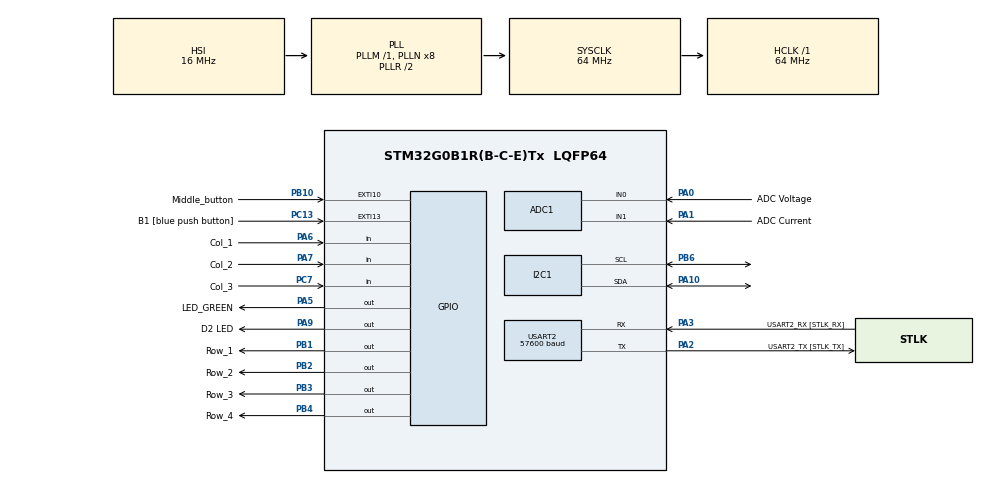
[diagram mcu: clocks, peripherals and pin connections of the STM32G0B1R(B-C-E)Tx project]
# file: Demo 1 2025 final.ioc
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ADC1.Channel-0\#ChannelRegularConversion=ADC_CHANNEL_0
ADC1.Channel-1\#ChannelRegularConversion=ADC_CHANNEL_1
ADC1.ContinuousConvMode=DISABLE
ADC1.DMAContinuousRequests=DISABLE
ADC1.EOCSelection=ADC_EOC_SEQ_CONV
ADC1.NbrOfConversion=2
ADC1.NbrOfConversionFlag=1
ADC1.Rank-0\#ChannelRegularConversion=1
ADC1.Rank-1\#ChannelRegularConversion=2
ADC1.SamplingTime-0\#ChannelRegularConversion=ADC_SAMPLINGTIME_COMMON_1
ADC1.SamplingTime-1\#ChannelRegularConversion=ADC_SAMPLINGTIME_COMMON_1
ADC1.SamplingTimeCommon1=ADC_SAMPLETIME_7CYCLES_5
ADC1.SamplingTimeCommon2=ADC_SAMPLETIME_7CYCLES_5
ADC1.SelectedChannel=ADC_CHANNEL_0|ADC_CHANNEL_1
ADC1.master=1
Dma.ADC1.0.Direction=DMA_PERIPH_TO_MEMORY
Dma.ADC1.0.EventEnable=DISABLE
Dma.ADC1.0.Instance=DMA1_Channel1
Dma.ADC1.0.MemDataAlignment=DMA_MDATAALIGN_HALFWORD
Dma.ADC1.0.MemInc=DMA_MINC_ENABLE
Dma.ADC1.0.Mode=DMA_NORMAL
Dma.ADC1.0.PeriphDataAlignment=DMA_PDATAALIGN_HALFWORD
Dma.ADC1.0.PeriphInc=DMA_PINC_DISABLE
Dma.ADC1.0.Polarity=HAL_DMAMUX_REQ_GEN_RISING
Dma.ADC1.0.Priority=DMA_PRIORITY_LOW
Dma.ADC1.0.RequestNumber=1
Dma.ADC1.0.SignalID=NONE
Dma.ADC1.0.SyncEnable=DISABLE
Dma.ADC1.0.SyncPolarity=HAL_DMAMUX_SYNC_NO_EVENT
Dma.ADC1.0.SyncRequestNumber=1
Dma.ADC1.0.SyncSignalID=NONE
Dma.Request0=ADC1
I2C1.Timing=0x10B17DB5
Mcu.Family=STM32G0
Mcu.Name=STM32G0B1R(B-C-E)Tx
Mcu.Package=LQFP64
NVIC.DMA1_Channel1_IRQn=true\:0\:0\:true\:false\:true\:false\:true\:true
NVIC.EXTI4_15_IRQn=true\:0\:0\:false\:false\:true\:true\:true\:true
NVIC.TIM2_IRQn=true\:0\:0\:true\:false\:true\:true\:true\:true
NVIC.USART2_LPUART2_IRQn=true\:0\:0\:false\:false\:true\:true\:true\:true
PA0.GPIO_Label=ADC Voltage
PA0.Mode=IN0
PA0.Signal=ADC1_IN0
PA1.GPIO_Label=ADC Current
PA1.Mode=IN1
PA1.Signal=ADC1_IN1
PA10.Mode=I2C
PA10.Signal=I2C1_SDA
PA13.GPIO_Label=TMS
PA13.Mode=Serial_Wire
PA13.Signal=SYS_SWDIO
PA14-BOOT0.GPIO_Label=TCK
PA14-BOOT0.Mode=Serial_Wire
PA14-BOOT0.Signal=SYS_SWCLK
PA2.GPIO_Label=USART2_TX [STLK_TX]
PA2.Mode=Asynchronous
PA2.Signal=USART2_TX
PA3.GPIO_Label=USART2_RX [STLK_RX]
PA3.Mode=Asynchronous
PA3.Signal=USART2_RX
PA5.GPIO_Label=LED_GREEN
PA5.GPIO_Speed=GPIO_SPEED_FREQ_HIGH
PA5.Signal=GPIO_Output
PA6.GPIO_Label=Col_1
PA6.GPIO_PuPd=GPIO_PULLDOWN
PA6.Signal=GPIO_Input
PA7.GPIO_Label=Col_2
PA7.GPIO_PuPd=GPIO_PULLDOWN
PA7.Signal=GPIO_Input
PA9.GPIO_Label=D2 LED
PA9.PinState=GPIO_PIN_RESET
PA9.Signal=GPIO_Output
PB1.GPIO_Label=Row_1
PB1.Signal=GPIO_Output
PB10.GPIO_Label=Middle_button
PB10.GPIO_ModeDefaultEXTI=GPIO_MODE_IT_FALLING
PB10.GPIO_PuPd=GPIO_PULLUP
PB10.Signal=GPXTI10
PB2.GPIO_Label=Row_2
PB2.Signal=GPIO_Output
PB3.GPIO_Label=Row_3
PB3.Signal=GPIO_Output
PB4.GPIO_Label=Row_4
PB4.Signal=GPIO_Output
PB6.Mode=I2C
PB6.Signal=I2C1_SCL
PC13.GPIO_Label=B1 [blue push button]
PC13.Signal=GPXTI13
PC14-OSC32_IN\ (PC14).Mode=LSE-External-Oscillator
PC14-OSC32_IN\ (PC14).Signal=RCC_OSC32_IN
PC15-OSC32_OUT\ (PC15).Mode=LSE-External-Oscillator
PC15-OSC32_OUT\ (PC15).Signal=RCC_OSC32_OUT
PC7.GPIO_Label=Col_3
PC7.GPIO_PuPd=GPIO_PULLDOWN
PC7.Signal=GPIO_Input
PF0-OSC_IN\ (PF0).GPIO_Label=MCO
PF0-OSC_IN\ (PF0).Mode=HSE-External-Clock-Source
PF0-OSC_IN\ (PF0).Signal=RCC_OSC_IN
ProjectManager.HeapSize=0x200
ProjectManager.StackSize=0x400
ProjectManager.TargetToolchain=STM32CubeIDE
RCC.ADCFreq_Value=64000000
RCC.AHBFreq_Value=64000000
RCC.CortexFreq_Value=64000000
RCC.EXTERNAL_CLOCK_VALUE=12288000
RCC.HCLKFreq_Value=64000000
RCC.HSE_VALUE=8000000
RCC.HSI48_VALUE=48000000
RCC.HSI_VALUE=16000000
RCC.SYSCLKFreq_VALUE=64000000
RCC.SYSCLKSource=RCC_SYSCLKSOURCE_PLLCLK
RCC.USBFreq_Value=48000000
RCC.VCOOutputFreq_Value=128000000
TIM2.Channel-Output\ Compare1\ No\ Output=TIM_CHANNEL_1
TIM2.Period=99
TIM2.Prescaler=63
USART2.BaudRate=57600
USART2.Parity=PARITY_EVEN
USART2.VirtualMode-Asynchronous=VM_ASYNC
USART2.WordLength=WORDLENGTH_9B
VP_RTC_VS_RTC_Activate.Mode=RTC_Enabled
VP_RTC_VS_RTC_Calendar.Mode=RTC_Calendar
VP_SYS_VS_DBSignals.Mode=DisableDeadBatterySignals
VP_TIM2_VS_no_output1.Mode=Output Compare1 No Output
board=NUCLEO-G0B1RE

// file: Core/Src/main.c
/* USER CODE BEGIN Header */
/**
  ******************************************************************************
  * @file           : main.c
  * @brief          : Main program body
  ******************************************************************************
  * @attention
  *
  * Copyright (c) 2025 STMicroelectronics.
  * All rights reserved.
  *
  * This software is licensed under terms that can be found in the LICENSE file
  * in the root directory of this software component.
  * If no LICENSE file comes with this software, it is provided AS-IS.
  *
  ******************************************************************************
  */
/* USER CODE END Header */
#include "main.h"

/* USER CODE BEGIN Includes */

#include <math.h>
#include <string.h>
#include <stdio.h>
#include "ssd1306.h"
#include "ssd1306_fonts.h"
#include "ssd1306_tests.h"
#include "keypad.h"
#include <stdlib.h>

/* USER CODE END Includes */

ADC_HandleTypeDef hadc1;
DMA_HandleTypeDef hdma_adc1;

I2C_HandleTypeDef hi2c1;

RTC_HandleTypeDef hrtc;

TIM_HandleTypeDef htim2;

UART_HandleTypeDef huart2;

void SystemClock_Config(void);
static void MX_GPIO_Init(void);
static void MX_DMA_Init(void);
static void MX_USART2_UART_Init(void);
static void MX_ADC1_Init(void);
static void MX_TIM2_Init(void);
static void MX_RTC_Init(void);
static void MX_I2C1_Init(void);
/* USER CODE BEGIN PFP */
void Menu_lvl_1(char key);
void Menu_Load(char key);
void Menu_lvl_2(char key);
void Menu_Add_Units(char key);
void Menu_Count(char key);
/* USER CODE END PFP */

/* USER CODE BEGIN 0 */
//#define ADC_BUFFER_SIZE 8000  // Adjust size as needed

//uint16_t adc_buffer[ADC_BUFFER_SIZE];  // One shared buffer for both channels
uint8_t studentnumber[11]="*23142251#\n";
uint8_t rxBuffer[7];
#define NUM_SAMPLES 1000   // Define the number of samples for voltage and current
#define MAX_SAMPLES 1000   // Adjust as needed
#define SAMPLE_RATE_HZ 10000  // 10kHz sampling rate
#define DEBOUNCE_DELAY 150  // ms
#define ZERO_LOW 1800
#define ZERO_HIGH 1850
#define ZERO_THRESHOLD 1900
volatile uint32_t lastButtonPressTime = 0;
char current_key = '0';              // Default starting key/menu
uint32_t last_update_time = 0;       // For refresh timing
const uint32_t update_interval = 500; // ms
uint16_t adc_values[2];  // Array to store ADC values: [0] = voltage, [1] = current
uint16_t voltage_samples[MAX_SAMPLES];
uint16_t current_samples[MAX_SAMPLES];
uint16_t sample_count = 0;
uint8_t adc_sampling_complete = 0;
float voltage_rms = 0.0;
float current_rms = 0.0;
float phase = 0.0;          // Phase in radians (x.xxx)
float apparent_power = 0.0; // Apparent power in VA (xxxx)
float real_power = 0.0;     // Real power in W (xxxx)
float reactive_power = 0.0; // Reactive power in VAR (xxxx)
float power_factor = 0.0;   // Power factor (x.xxx)
float energy_per_day = 0.0; // Energy per day in Wh (xxxxx)
float max_power = 0.0;      // Maximum power in W (xxxx)
float units_left = 1.0;     // Units left in kWh (xxx.x)
float min_units = 0.0;
uint8_t currentMenuLevel = 0;

//void get_timestamp(char *timestamp) {
//    RTC_TimeTypeDef sTime = {0};
//    RTC_DateTypeDef sDate = {0};
//
//    // Get current time and date
//    HAL_RTC_GetTime(&hrtc, &sTime, RTC_FORMAT_BIN);
//    HAL_RTC_GetDate(&hrtc, &sDate, RTC_FORMAT_BIN);
//
//    // Format the timestamp
//    snprintf(timestamp, 21, "20%02d/%02d/%02d %02d:%02d:%02d\n",
//             sDate.Year, sDate.Month, sDate.Date,
//             sTime.Hours, sTime.Minutes, sTime.Seconds);
//}

void get_timestamp(char *timestamp) {
    RTC_TimeTypeDef sTime = {0};
    RTC_DateTypeDef sDate = {0};

    // Get current time and date
    HAL_RTC_GetTime(&hrtc, &sTime, RTC_FORMAT_BIN);
    HAL_RTC_GetDate(&hrtc, &sDate, RTC_FORMAT_BIN);

    // Format: HH:MM:SS  YY/MM/DD (2-digit year)
    snprintf(timestamp, 21, "%02d:%02d:%02d  %02d/%02d/%02d",
             sTime.Hours, sTime.Minutes, sTime.Seconds,
             sDate.Year, sDate.Month, sDate.Date);
}
void get_timestamp1(char *timestamp1) {
    RTC_TimeTypeDef sTime = {0};
    RTC_DateTypeDef sDate = {0};

    // Get current time and date
    HAL_RTC_GetTime(&hrtc, &sTime, RTC_FORMAT_BIN);
    HAL_RTC_GetDate(&hrtc, &sDate, RTC_FORMAT_BIN);

    // Format the timestamp
    snprintf(timestamp1, 21, "20%02d/%02d/%02d %02d:%02d:%02d\n",
             sDate.Year, sDate.Month, sDate.Date,
             sTime.Hours, sTime.Minutes, sTime.Seconds);
}
// ADC Conversion Complete Callback
void HAL_ADC_ConvCpltCallback(ADC_HandleTypeDef *hadc) {
    if (hadc->Instance == ADC1) {
        voltage_samples[sample_count] = adc_values[0];
        current_samples[sample_count] = adc_values[1];
        sample_count++;
        if (sample_count >= NUM_SAMPLES) {
            sample_count = 0; //reset counter
            //HAL_TIM_Base_Stop_IT(&htim2);
        }
    }
}

// Timer Period Elapsed Callback (Trigger ADC Conversion)
void HAL_TIM_PeriodElapsedCallback(TIM_HandleTypeDef *htim) {
    if (htim->Instance == TIM2) {
        HAL_ADC_Start_DMA(&hadc1, (uint32_t *)adc_values, 2);
    }
}
void HAL_UART_RxCpltCallback(UART_HandleTypeDef *huart) {
    if (huart->Instance == USART2) {
        if (strncmp((char *)rxBuffer, "*Stat#\n", 7) == 0) {
            handle_status_command();

        }
        else if (strncmp((char *)rxBuffer, "*Load#\n", 7) == 0) {
            handle_load_command();
        }
        // Add to your UART command list
//        else if (strncmp((char *)rxBuffer, "*xADC#\n", 7) == 0) {
//            handle_adc_debug_command();  // New function to show raw ADC data
//        }
        HAL_UART_Receive_IT(&huart2, rxBuffer, 7);
    }
}
// Function to calculate RMS value from samples
void calculate_rms(void) {
    uint16_t v_max = voltage_samples[0];
    uint16_t v_min = voltage_samples[0];  // ADC max value
    uint16_t i_max = current_samples[0];
    uint16_t i_min = current_samples[0];

    // Loop through buffer to find peak and min values
    for (uint16_t i = 0; i < NUM_SAMPLES; i++) {
        if (voltage_samples[i] > v_max) v_max = voltage_samples[i];
        if (voltage_samples[i] < v_min) v_min = voltage_samples[i];

        if (current_samples[i] > i_max) i_max = current_samples[i];
        if (current_samples[i] < i_min) i_min = current_samples[i];
    }

    // Get peak-to-peak values
    float v_pp = (v_max - v_min) * (3.3f / 4095.0f);  // Convert ADC to voltage
    float i_pp = (i_max - i_min) * (3.3f / 4095.0f);

    // Convert peak-to-peak voltage to RMS (2Vpp = 230V)
    voltage_rms = (v_pp / 2.0f / sqrt(2.0f)) * 230.0f*1.118;
    current_rms = (i_pp / 2.0f / sqrt(2.0f)) * 15.0f*1.118;
    apparent_power= voltage_rms*current_rms;
}

int find_zero_crossing_index(uint16_t *samples) {
    for (int i = 1; i < NUM_SAMPLES; i++) {
        if (samples[i-1] < ZERO_THRESHOLD && samples[i] >= ZERO_THRESHOLD) {
            return i;
        }
    }
    return -1; // Not found
}

void calculate_phase_and_power(void) {
    int v_idx = find_zero_crossing_index(voltage_samples);
    int i_idx = find_zero_crossing_index(current_samples);

    if (v_idx == -1 || i_idx == -1) {
        // If zero-crossing failed, just return
        return;
    }

    int delta = i_idx - v_idx;
    float sample_rate = 10000.0f; // 10kHz
    float freq = 50.0f;

    float time_diff = (float)delta / sample_rate;
    float raw_phase = 2.0f * M_PI * freq * time_diff;

    // Calibration offset
    float baseline_offset = -1.4f-3.0f;
    raw_phase -= baseline_offset;

    static float last_phase = 0.0f;

    if (raw_phase > 3.1f || raw_phase < -3.1f) {
        // Glitch detected — keep previous value
        phase = last_phase;
    } else {
        // Valid value — update
        phase = raw_phase;
        last_phase = phase;
    }

    power_factor = cosf(phase);
    power_factor = fabsf(power_factor);
    real_power = apparent_power * power_factor;
    real_power = fabsf(real_power);
    reactive_power = apparent_power * sinf(phase);
}

// UART Command Handler

void handle_status_command(void) {
	HAL_TIM_Base_Start_IT(&htim2);
    calculate_rms(); // Calculate RMS voltage and current
    calculate_phase_and_power();
    char timestamp1[21]; // Buffer for timestamp (20 characters + null terminator)
    get_timestamp1(timestamp1); // Get the current timestamp

    char message[256]; // Buffer for the entire status message
    int len = 0;

    // Add timestamp (20 characters, including newline)
    len += snprintf(message + len, sizeof(message) - len, "%.20s", timestamp1);

    // Add formatted data with proper alignment
    len += snprintf(message + len, sizeof(message) - len, "%-9s%9.1fV\n", "Voltage:", voltage_rms);
    len += snprintf(message + len, sizeof(message) - len, "%-9s%8.0fmA\n", "Current:", current_rms * 1000);
    len += snprintf(message + len, sizeof(message) - len, "%-10s%6.3frad\n", "Phase:", phase);
    len += snprintf(message + len, sizeof(message) - len, "%-10s%7.0fVA\n", "Apparent:", apparent_power);
    len += snprintf(message + len, sizeof(message) - len, "%-10s%8.0fW\n", "Real:", real_power);
    len += snprintf(message + len, sizeof(message) - len, "%-10s%6.0fVAR\n", "Reactive:", reactive_power);
    len += snprintf(message + len, sizeof(message) - len, "%-10s%9.3f\n", "PowerFact:", power_factor);
    len += snprintf(message + len, sizeof(message) - len, "%-10s%7.0fWh\n", "Energy/d:", energy_per_day);
    len += snprintf(message + len, sizeof(message) - len, "%-10s%8.0fW\n", "MaxPower:", max_power);
    len += snprintf(message + len, sizeof(message) - len, "%-10s%6.1fkWh\n", "UnitsLeft:", units_left);

    // Transmit the message
    HAL_UART_Transmit(&huart2, (uint8_t *)message, len, HAL_MAX_DELAY);
}
//void handle_adc_debug_command(void) {
//    // Capture snapshot of current ADC buffer (unchanged)
//    uint16_t v_min = voltage_samples[0], v_max = voltage_samples[0];
//    uint16_t i_min = current_samples[0], i_max = current_samples[0];
//    uint32_t v_sum = 0, i_sum = 0;
//
//    for (int i = 0; i < NUM_SAMPLES; i++) {
//        v_sum += voltage_samples[i];
//        i_sum += current_samples[i];
//        if (voltage_samples[i] < v_min) v_min = voltage_samples[i];
//        if (voltage_samples[i] > v_max) v_max = voltage_samples[i];
//        if (current_samples[i] < i_min) i_min = current_samples[i];
//        if (current_samples[i] > i_max) i_max = current_samples[i];
//    }
//
//    // Calculations (now with clear variable names)
//    const float opamp_gain = 1.3f;
//    float raw_vpp = (v_max - v_min) * 3.3f / 4095.0f;    // Higher value (op-amp output)
//    float input_vpp = raw_vpp / opamp_gain;              // Lower value (original input)
//    float raw_ipp = (i_max - i_min) * 3.3f / 4095.0f;
//    float input_ipp = raw_ipp / opamp_gain;
//
//    // Format output with swapped values
//    char message[250];
//    int len = snprintf(message, sizeof(message),
//        "ADC Accuracy Report:\n"
//        "Voltage: Min=%.3fV, Max=%.3fV, Avg=%.3fV\n"
//        "Current: Min=%.3fV, Max=%.3fV, Avg=%.3fV\n"
//        "Samples=%d\n"
//        "Vpp=%.3fV (input pre-gain vpp=%.3fV)\n"      // Raw ADC value first
//        "Ipp=%.3fV (input pre-gain ipp=%.3fV)\n",     // Then divided value
//        v_min * 3.3f / 4095.0f,
//        v_max * 3.3f / 4095.0f,
//        (v_sum * 3.3f) / (NUM_SAMPLES * 4095.0f),
//        i_min * 3.3f / 4095.0f,
//        i_max * 3.3f / 4095.0f,
//        (i_sum * 3.3f) / (NUM_SAMPLES * 4095.0f),
//        NUM_SAMPLES,
//        raw_vpp,     // Higher value (op-amp output)
//        input_vpp,   // Lower value (original input)
//        raw_ipp,
//        input_ipp);
//
//    HAL_UART_Transmit(&huart2, (uint8_t *)message, len, 100);
//}

void handle_load_command(void)
{
    HAL_GPIO_TogglePin(GPIOA, GPIO_PIN_9);
}
//void HAL_GPIO_EXTI_Callback(uint16_t GPIO_Pin)
//{
//    if (GPIO_Pin == Middle_button_Pin)
//    {
//        uint32_t now = HAL_GetTick();
//        if ((now - lastButtonPressTime) > DEBOUNCE_DELAY)
//        {
//            lastButtonPressTime = now;
//            handle_load_command();
//        }
//    }
//}

void HAL_GPIO_EXTI_Falling_Callback(uint16_t GPIO_Pin)
{
    if (GPIO_Pin == Middle_button_Pin)
    {
        uint32_t now = HAL_GetTick();

        // Debounce: only allow if 200ms passed since last press
        if ((now - lastButtonPressTime) > DEBOUNCE_DELAY)
        {
            // Confirm the button is still pressed (still LOW)
            if (HAL_GPIO_ReadPin(Middle_button_GPIO_Port, Middle_button_Pin) == GPIO_PIN_RESET)
            {
                lastButtonPressTime = now;
                HAL_GPIO_TogglePin(GPIOA, GPIO_PIN_9);
            }
        }
    }
}

void Menu_lvl_0(char key) {
    char line[32];

    HAL_TIM_Base_Start_IT(&htim2);
    calculate_rms();
    calculate_phase_and_power();
    char timestamp[21];
    get_timestamp(timestamp);

    ssd1306_Fill(Black);

    switch (key) {
        case '0':
            snprintf(line, sizeof(line), "%-9s%9.0fVA", "Apparent:", apparent_power);
            ssd1306_SetCursor(0, 0);
            ssd1306_WriteString(line, Font_6x8, White);

            snprintf(line, sizeof(line), "%-9s%9.0fWh", "Energy/d:", energy_per_day);
            ssd1306_SetCursor(0, 10);
            ssd1306_WriteString(line, Font_6x8, White);

            snprintf(line, sizeof(line), "%-9s%9.4fkWh", "Units:", units_left);
            ssd1306_SetCursor(0, 20);
            ssd1306_WriteString(line, Font_6x8, White);
            break;

        case '1':
            snprintf(line, sizeof(line), "%-9s%9.1fV", "Voltage:", voltage_rms);
            ssd1306_SetCursor(0, 0);
            ssd1306_WriteString(line, Font_6x8, White);

            snprintf(line, sizeof(line), "%-9s%9.3fA", "Current:", current_rms);
            ssd1306_SetCursor(0, 10);
            ssd1306_WriteString(line, Font_6x8, White);

            snprintf(line, sizeof(line), "%-9s%9.3fr", "Phase:", phase);
            ssd1306_SetCursor(0, 20);
            ssd1306_WriteString(line, Font_6x8, White);
            break;

        case '2':
            snprintf(line, sizeof(line), "%-9s%9.0fW", "Real:", real_power);
            ssd1306_SetCursor(0, 0);
            ssd1306_WriteString(line, Font_6x8, White);

            snprintf(line, sizeof(line), "%-9s%9.0fW", "Reactive:", reactive_power);
            ssd1306_SetCursor(0, 10);
            ssd1306_WriteString(line, Font_6x8, White);

            snprintf(line, sizeof(line), "%-9s%9.3f", "PowerFact:", power_factor);
            ssd1306_SetCursor(0, 20);
            ssd1306_WriteString(line, Font_6x8, White);
            break;

        case '3':
            get_timestamp(timestamp);  // Make sure it's updated before printing

            ssd1306_SetCursor(0, 0);
            ssd1306_WriteString(timestamp, Font_6x8, White);

            snprintf(line, sizeof(line), "%-9s%9.0fW", "Max Power:", max_power);
            ssd1306_SetCursor(0, 10);
            ssd1306_WriteString(line, Font_6x8, White);

            snprintf(line, sizeof(line), "%-9s%9.1fkWh", "Min Units:", min_units);
            ssd1306_SetCursor(0, 20);
            ssd1306_WriteString(line, Font_6x8, White);
            break;

        case '*':
            currentMenuLevel = 1;
            Menu_lvl_1('\0');  // Initial display of Menu Level 1
            return;            // Important: avoid further processing

         default:
             ssd1306_Fill(Black);
             ssd1306_SetCursor(0, 0);
             ssd1306_WriteString("Invalid key (Lvl 0)", Font_6x8, White);
             break;
    }

    ssd1306_UpdateScreen();
}

void Menu_lvl_1(char key) {
    char line[32];
    ssd1306_Fill(Black);

    switch (key) {
        case '\0':
            ssd1306_SetCursor(0, 0);
            ssd1306_WriteString("Menu(Lvl 1):", Font_6x8, White);

            ssd1306_SetCursor(0, 10);
            snprintf(line, sizeof(line), "1: Load On/Off");
            ssd1306_WriteString(line, Font_6x8, White);

            ssd1306_SetCursor(0, 20);
            snprintf(line, sizeof(line), "2: Manage Units");
            ssd1306_WriteString(line, Font_6x8, White);
            break;

        case '1':
        			currentMenuLevel = 2;
                    Menu_Load('\0');  // Entry into Load submenu
                    return;

        case '2':
        	currentMenuLevel = 3;
        	Menu_lvl_2('\0');
        	return;

        case '#':
            currentMenuLevel = 0;       // Go back to level 0
            current_key = '0';          // Reset to a valid default key for refresh
            Menu_lvl_0(current_key);    // Show default screen
            return;
                      // Done

        default:
            ssd1306_SetCursor(0, 0);
            ssd1306_WriteString("Invalid key (Lvl 1)", Font_6x8, White);
            break;
    }

    ssd1306_UpdateScreen();
}

void Menu_Load(char key) {
    static char loadSwitchSelection = '\0';  // persist selection during navigation
    currentMenuLevel = 2;

    switch (key) {
        case '\0':

            ssd1306_SetCursor(0, 0);
            ssd1306_WriteString("Load On/Off:", Font_6x8, White);
            ssd1306_SetCursor(0, 10);
            ssd1306_WriteString("1 = ON, 2 = OFF", Font_6x8, White);
            ssd1306_SetCursor(0, 20);
            ssd1306_WriteString("* to confirm", Font_6x8, White);
            ssd1306_UpdateScreen();
            loadSwitchSelection = '\0';  // Reset previous selection
            break;

        case '1':
        case '2':
            loadSwitchSelection = key;  // Store selection until confirm
            break;

        case '*':  // Confirm selection
            if (loadSwitchSelection == '1') {
                HAL_GPIO_WritePin(GPIOA, GPIO_PIN_9, GPIO_PIN_SET);  // LED ON
            } else if (loadSwitchSelection == '2') {
                HAL_GPIO_WritePin(GPIOA, GPIO_PIN_9, GPIO_PIN_RESET);  // LED OFF
            }
            // Return to main menu after confirm
            currentMenuLevel = 0;
            Menu_lvl_0('0');
            break;

        case '#':  // Cancel/back
            currentMenuLevel = 1;
            Menu_lvl_1('\0');
            break;
    }
}

void Menu_lvl_2(char key) {
    currentMenuLevel = 3;

    if (key == '\0') {

        ssd1306_SetCursor(0, 0);
        ssd1306_WriteString("Menu(Lvl 2):", Font_6x8, White);
        ssd1306_SetCursor(0, 10);
        ssd1306_WriteString("1: Count On/Off", Font_6x8, White);
        ssd1306_SetCursor(0, 20);
        ssd1306_WriteString("2: Add Units", Font_6x8, White);
        ssd1306_UpdateScreen();
        return;
    }

    switch (key) {
        case '1':
            currentMenuLevel = 4;
            Menu_Count('\0');  // Load Unit Count toggle menu
            break;

        case '2':
            currentMenuLevel = 5;
            Menu_Add_Units('\0');  // Load Add Units menu
            break;

        case '#':
            currentMenuLevel = 1;
            Menu_lvl_1('\0');  // Go back to Main Menu
            break;
    }
}

void Menu_Count(char key) {
    static char countSwitchSelection = '\0';  // Persist selection during navigation
    currentMenuLevel = 4;

    switch (key) {
        case '\0':
            ssd1306_Clear();
            ssd1306_SetCursor(0, 0);
            ssd1306_WriteString("Unit Count Toggle:", Font_6x8, White);
            ssd1306_SetCursor(0, 10);
            ssd1306_WriteString("1 = ON, 2 = OFF", Font_6x8, White);
            ssd1306_SetCursor(0, 20);
            ssd1306_WriteString("* to confirm", Font_6x8, White);
            ssd1306_UpdateScreen();
            countSwitchSelection = '\0';  // Reset previous selection
            break;

        case '1':
        case '2':
            countSwitchSelection = key;  // Store selection
            break;

        case '*':  // Confirm selection
            ssd1306_Clear();
            if (countSwitchSelection == '1') {
                // Handle ON logic
                ssd1306_SetCursor(0, 0);
                ssd1306_WriteString("Unit Count: ON", Font_6x8, White);
                // You can add logic here to enable unit counting
            } else if (countSwitchSelection == '2') {
                // Handle OFF logic
                ssd1306_SetCursor(0, 0);
                ssd1306_WriteString("Unit Count: OFF", Font_6x8, White);
                // You can add logic here to disable unit counting
            } else {
                ssd1306_SetCursor(0, 0);
                ssd1306_WriteString("Invalid Option", Font_6x8, White);
            }
            ssd1306_UpdateScreen();
            HAL_Delay(2000);
            currentMenuLevel = 1;  // Return to Menu Level 1
            Menu_lvl_1('\0');
            break;

        case '#':  // Cancel/back
        	ssd1306_Clear();
            currentMenuLevel = 1;
            Menu_lvl_1('\0');
            break;
    }
}

void Menu_Add_Units(char key) {
    static char unitInputBuffer[10] = "";  // Buffer to hold input digits
    static uint8_t inputIndex = 0;
    currentMenuLevel = 5;

    switch (key) {
        case '\0':
            ssd1306_Clear();
            ssd1306_SetCursor(0, 0);
            ssd1306_WriteString("Units to Add:", Font_6x8, White);
            ssd1306_SetCursor(0, 10);
            ssd1306_WriteString(unitInputBuffer, Font_6x8, White);
            ssd1306_SetCursor(0, 20);
            ssd1306_WriteString("Press * to confirm", Font_6x8, White);
            ssd1306_UpdateScreen();
            break;

        case '0'...'9':
            if (inputIndex < sizeof(unitInputBuffer) - 1) {
                unitInputBuffer[inputIndex++] = key;
                unitInputBuffer[inputIndex] = '\0';  // Null-terminate
            }
            Menu_Add_Units('\0');  // Refresh display with updated input
            break;

        case '*':  // Confirm
            if (inputIndex > 0) {
                int unitsToAdd = atoi(unitInputBuffer);  // Convert input to integer

                // Do your logic here — add units, update display, etc.
                ssd1306_Clear();
                ssd1306_SetCursor(0, 0);
                ssd1306_WriteString("Added Units:", Font_6x8, White);
                char confirmationMsg[20];
                sprintf(confirmationMsg, "%d units", unitsToAdd);
                ssd1306_SetCursor(0, 10);
                ssd1306_WriteString(confirmationMsg, Font_6x8, White);
                ssd1306_UpdateScreen();

                HAL_Delay(2000);
            }

            // Reset and go back
            memset(unitInputBuffer, 0, sizeof(unitInputBuffer));
            inputIndex = 0;
            currentMenuLevel = 1;
            Menu_lvl_1('\0');
            break;

        case '#':  // Cancel/back
            memset(unitInputBuffer, 0, sizeof(unitInputBuffer));
            ssd1306_Clear();
            inputIndex = 0;
            currentMenuLevel = 1;
            Menu_lvl_2('\0');
            break;
    }
}

/* USER CODE END 0 */

int main(void)
{

  /* MCU Configuration--------------------------------------------------------*/

  /* Reset of all peripherals, Initializes the Flash interface and the Systick. */
  HAL_Init();

  /* Configure the system clock */
  SystemClock_Config();

  /* Initialize all configured peripherals */
  MX_GPIO_Init();
  MX_DMA_Init();
  MX_USART2_UART_Init();
  MX_ADC1_Init();
  MX_TIM2_Init();
  MX_RTC_Init();
  MX_I2C1_Init();
  /* USER CODE BEGIN 2 */

  HAL_TIM_Base_Start_IT(&htim2);
 // HAL_ADC_Start_DMA(&hadc1, (uint32_t *)adc_values, 2);  // 2 channels: voltage and current

  HAL_Delay(120);
  HAL_UART_Transmit(&huart2, studentnumber, 11, 150);
  //HAL_UART_Receive_IT(&huart2, rxBuffer, sizeof(rxBuffer));
  HAL_UART_Receive_IT(&huart2, rxBuffer, 7);
  //HAL_UART_Receive_IT(&huart2, &rxByte, 1);

  //HAL_UART_Transmit(&huart2, (uint8_t *)&letter, 1, 120);
  //HAL_UART_Transmit(&huart2, studentnumber, sizeof(studentnumber) - 1, 120);
  ssd1306_Init();
  //ssd1306_SetCursor(0, 0);
  //ssd1306_WriteString("Hello!", Font_7x10, Black);
  //ssd1306_UpdateScreen();

  /* USER CODE END 2 */

  /* Infinite loop */
  /* USER CODE BEGIN WHILE */
  while (1)
  {
	  char key = Keypad_Scan();

	      if (key != '\0') {
//	          char msg[16];
//	          snprintf(msg, sizeof(msg), "Key: %c\n", key);
//	          HAL_UART_Transmit(&huart2, (uint8_t*)msg, strlen(msg), HAL_MAX_DELAY);
//	          HAL_Delay(100);  // Debounce delay

	          switch (currentMenuLevel) {
	              case 0:
	                  if (key == '*' || key != current_key) {
	                      current_key = key;
	                      Menu_lvl_0(current_key); // Update immediately on keypress
	                  }
	                  break;
	              case 1:
	                  Menu_lvl_1(key);
	                  break;
	              case 2:
	                  Menu_Load(key);
	                  break;
	              case 3:
	                  Menu_lvl_2(key);
	                  break;
	              case 4:
	                  Menu_Count(key);
	                  break;
	              case 5:
	                  Menu_Add_Units(key);
	                  break;
	              // Extend with more levels if needed
	          }
	      }

	      // ⏱️ Periodic update for Menu Level 0
	      if (currentMenuLevel == 0 && HAL_GetTick() - last_update_time >= update_interval) {
	          last_update_time = HAL_GetTick();
	          Menu_lvl_0(current_key);  // Update display every 500 ms with same menu key
	      }
    /* USER CODE END WHILE */

  }
}

void SystemClock_Config(void)
{
  RCC_OscInitTypeDef RCC_OscInitStruct = {0};
  RCC_ClkInitTypeDef RCC_ClkInitStruct = {0};

  /** Configure the main internal regulator output voltage
  */
  HAL_PWREx_ControlVoltageScaling(PWR_REGULATOR_VOLTAGE_SCALE1);

  /** Initializes the RCC Oscillators according to the specified parameters
  * in the RCC_OscInitTypeDef structure.
  */
  RCC_OscInitStruct.OscillatorType = RCC_OSCILLATORTYPE_HSI|RCC_OSCILLATORTYPE_LSI;
  RCC_OscInitStruct.HSIState = RCC_HSI_ON;
  RCC_OscInitStruct.HSIDiv = RCC_HSI_DIV1;
  RCC_OscInitStruct.HSICalibrationValue = RCC_HSICALIBRATION_DEFAULT;
  RCC_OscInitStruct.LSIState = RCC_LSI_ON;
  RCC_OscInitStruct.PLL.PLLState = RCC_PLL_ON;
  RCC_OscInitStruct.PLL.PLLSource = RCC_PLLSOURCE_HSI;
  RCC_OscInitStruct.PLL.PLLM = RCC_PLLM_DIV1;
  RCC_OscInitStruct.PLL.PLLN = 8;
  RCC_OscInitStruct.PLL.PLLP = RCC_PLLP_DIV2;
  RCC_OscInitStruct.PLL.PLLQ = RCC_PLLQ_DIV2;
  RCC_OscInitStruct.PLL.PLLR = RCC_PLLR_DIV2;
  if (HAL_RCC_OscConfig(&RCC_OscInitStruct) != HAL_OK)
  {
    Error_Handler();
  }

  /** Initializes the CPU, AHB and APB buses clocks
  */
  RCC_ClkInitStruct.ClockType = RCC_CLOCKTYPE_HCLK|RCC_CLOCKTYPE_SYSCLK
                              |RCC_CLOCKTYPE_PCLK1;
  RCC_ClkInitStruct.SYSCLKSource = RCC_SYSCLKSOURCE_PLLCLK;
  RCC_ClkInitStruct.AHBCLKDivider = RCC_SYSCLK_DIV1;
  RCC_ClkInitStruct.APB1CLKDivider = RCC_HCLK_DIV1;

  if (HAL_RCC_ClockConfig(&RCC_ClkInitStruct, FLASH_LATENCY_2) != HAL_OK)
  {
    Error_Handler();
  }
}

static void MX_ADC1_Init(void)
{

  ADC_ChannelConfTypeDef sConfig = {0};

  /** Configure the global features of the ADC (Clock, Resolution, Data Alignment and number of conversion)
  */
  hadc1.Instance = ADC1;
  hadc1.Init.ClockPrescaler = ADC_CLOCK_SYNC_PCLK_DIV2;
  hadc1.Init.Resolution = ADC_RESOLUTION_12B;
  hadc1.Init.DataAlign = ADC_DATAALIGN_RIGHT;
  hadc1.Init.ScanConvMode = ADC_SCAN_ENABLE;
  hadc1.Init.EOCSelection = ADC_EOC_SEQ_CONV;
  hadc1.Init.LowPowerAutoWait = DISABLE;
  hadc1.Init.LowPowerAutoPowerOff = DISABLE;
  hadc1.Init.ContinuousConvMode = DISABLE;
  hadc1.Init.NbrOfConversion = 2;
  hadc1.Init.DiscontinuousConvMode = DISABLE;
  hadc1.Init.ExternalTrigConv = ADC_SOFTWARE_START;
  hadc1.Init.ExternalTrigConvEdge = ADC_EXTERNALTRIGCONVEDGE_NONE;
  hadc1.Init.DMAContinuousRequests = DISABLE;
  hadc1.Init.Overrun = ADC_OVR_DATA_PRESERVED;
  hadc1.Init.SamplingTimeCommon1 = ADC_SAMPLETIME_7CYCLES_5;
  hadc1.Init.SamplingTimeCommon2 = ADC_SAMPLETIME_7CYCLES_5;
  hadc1.Init.OversamplingMode = DISABLE;
  hadc1.Init.TriggerFrequencyMode = ADC_TRIGGER_FREQ_HIGH;
  if (HAL_ADC_Init(&hadc1) != HAL_OK)
  {
    Error_Handler();
  }

  /** Configure Regular Channel
  */
  sConfig.Channel = ADC_CHANNEL_0;
  sConfig.Rank = ADC_REGULAR_RANK_1;
  sConfig.SamplingTime = ADC_SAMPLINGTIME_COMMON_1;
  if (HAL_ADC_ConfigChannel(&hadc1, &sConfig) != HAL_OK)
  {
    Error_Handler();
  }

  /** Configure Regular Channel
  */
  sConfig.Channel = ADC_CHANNEL_1;
  sConfig.Rank = ADC_REGULAR_RANK_2;
  if (HAL_ADC_ConfigChannel(&hadc1, &sConfig) != HAL_OK)
  {
    Error_Handler();
  }

}

static void MX_I2C1_Init(void)
{

  hi2c1.Instance = I2C1;
  hi2c1.Init.Timing = 0x10B17DB5;
  hi2c1.Init.OwnAddress1 = 0;
  hi2c1.Init.AddressingMode = I2C_ADDRESSINGMODE_7BIT;
  hi2c1.Init.DualAddressMode = I2C_DUALADDRESS_DISABLE;
  hi2c1.Init.OwnAddress2 = 0;
  hi2c1.Init.OwnAddress2Masks = I2C_OA2_NOMASK;
  hi2c1.Init.GeneralCallMode = I2C_GENERALCALL_DISABLE;
  hi2c1.Init.NoStretchMode = I2C_NOSTRETCH_DISABLE;
  if (HAL_I2C_Init(&hi2c1) != HAL_OK)
  {
    Error_Handler();
  }

  /** Configure Analogue filter
  */
  if (HAL_I2CEx_ConfigAnalogFilter(&hi2c1, I2C_ANALOGFILTER_ENABLE) != HAL_OK)
  {
    Error_Handler();
  }

  /** Configure Digital filter
  */
  if (HAL_I2CEx_ConfigDigitalFilter(&hi2c1, 0) != HAL_OK)
  {
    Error_Handler();
  }

}

static void MX_RTC_Init(void)
{

  RTC_TimeTypeDef sTime = {0};
  RTC_DateTypeDef sDate = {0};

  /** Initialize RTC Only
  */
  hrtc.Instance = RTC;
  hrtc.Init.HourFormat = RTC_HOURFORMAT_24;
  hrtc.Init.AsynchPrediv = 127;
  hrtc.Init.SynchPrediv = 255;
  hrtc.Init.OutPut = RTC_OUTPUT_DISABLE;
  hrtc.Init.OutPutRemap = RTC_OUTPUT_REMAP_NONE;
  hrtc.Init.OutPutPolarity = RTC_OUTPUT_POLARITY_HIGH;
  hrtc.Init.OutPutType = RTC_OUTPUT_TYPE_OPENDRAIN;
  hrtc.Init.OutPutPullUp = RTC_OUTPUT_PULLUP_NONE;
  if (HAL_RTC_Init(&hrtc) != HAL_OK)
  {
    Error_Handler();
  }

  /** Initialize RTC and set the Time and Date
  */
  sTime.Hours = 0x0;
  sTime.Minutes = 0x0;
  sTime.Seconds = 0x0;
  sTime.SubSeconds = 0x0;
  sTime.DayLightSaving = RTC_DAYLIGHTSAVING_NONE;
  sTime.StoreOperation = RTC_STOREOPERATION_RESET;
  if (HAL_RTC_SetTime(&hrtc, &sTime, RTC_FORMAT_BCD) != HAL_OK)
  {
    Error_Handler();
  }
  sDate.WeekDay = RTC_WEEKDAY_MONDAY;
  sDate.Month = RTC_MONTH_JANUARY;
  sDate.Date = 0x1;
  sDate.Year = 0x0;

  if (HAL_RTC_SetDate(&hrtc, &sDate, RTC_FORMAT_BCD) != HAL_OK)
  {
    Error_Handler();
  }

}

static void MX_TIM2_Init(void)
{

  TIM_MasterConfigTypeDef sMasterConfig = {0};
  TIM_OC_InitTypeDef sConfigOC = {0};

  htim2.Instance = TIM2;
  htim2.Init.Prescaler = 63;
  htim2.Init.CounterMode = TIM_COUNTERMODE_UP;
  htim2.Init.Period = 99;
  htim2.Init.ClockDivision = TIM_CLOCKDIVISION_DIV1;
  htim2.Init.AutoReloadPreload = TIM_AUTORELOAD_PRELOAD_DISABLE;
  if (HAL_TIM_OC_Init(&htim2) != HAL_OK)
  {
    Error_Handler();
  }
  sMasterConfig.MasterOutputTrigger = TIM_TRGO_RESET;
  sMasterConfig.MasterSlaveMode = TIM_MASTERSLAVEMODE_DISABLE;
  if (HAL_TIMEx_MasterConfigSynchronization(&htim2, &sMasterConfig) != HAL_OK)
  {
    Error_Handler();
  }
  sConfigOC.OCMode = TIM_OCMODE_TIMING;
  sConfigOC.Pulse = 0;
  sConfigOC.OCPolarity = TIM_OCPOLARITY_HIGH;
  sConfigOC.OCFastMode = TIM_OCFAST_DISABLE;
  if (HAL_TIM_OC_ConfigChannel(&htim2, &sConfigOC, TIM_CHANNEL_1) != HAL_OK)
  {
    Error_Handler();
  }

}

static void MX_USART2_UART_Init(void)
{

  huart2.Instance = USART2;
  huart2.Init.BaudRate = 57600;
  huart2.Init.WordLength = UART_WORDLENGTH_9B;
  huart2.Init.StopBits = UART_STOPBITS_1;
  huart2.Init.Parity = UART_PARITY_EVEN;
  huart2.Init.Mode = UART_MODE_TX_RX;
  huart2.Init.HwFlowCtl = UART_HWCONTROL_NONE;
  huart2.Init.OverSampling = UART_OVERSAMPLING_16;
  huart2.Init.OneBitSampling = UART_ONE_BIT_SAMPLE_DISABLE;
  huart2.Init.ClockPrescaler = UART_PRESCALER_DIV1;
  huart2.AdvancedInit.AdvFeatureInit = UART_ADVFEATURE_NO_INIT;
  if (HAL_UART_Init(&huart2) != HAL_OK)
  {
    Error_Handler();
  }
  if (HAL_UARTEx_SetTxFifoThreshold(&huart2, UART_TXFIFO_THRESHOLD_1_8) != HAL_OK)
  {
    Error_Handler();
  }
  if (HAL_UARTEx_SetRxFifoThreshold(&huart2, UART_RXFIFO_THRESHOLD_1_8) != HAL_OK)
  {
    Error_Handler();
  }
  if (HAL_UARTEx_DisableFifoMode(&huart2) != HAL_OK)
  {
    Error_Handler();
  }

}

static void MX_DMA_Init(void)
{

  /* DMA controller clock enable */
  __HAL_RCC_DMA1_CLK_ENABLE();

  /* DMA interrupt init */
  /* DMA1_Channel1_IRQn interrupt configuration */
  HAL_NVIC_SetPriority(DMA1_Channel1_IRQn, 0, 0);
  HAL_NVIC_EnableIRQ(DMA1_Channel1_IRQn);

}

static void MX_GPIO_Init(void)
{
  GPIO_InitTypeDef GPIO_InitStruct = {0};

  /* GPIO Ports Clock Enable */
  __HAL_RCC_GPIOC_CLK_ENABLE();
  __HAL_RCC_GPIOF_CLK_ENABLE();
  __HAL_RCC_GPIOA_CLK_ENABLE();
  __HAL_RCC_GPIOB_CLK_ENABLE();

  /*Configure GPIO pin Output Level */
  HAL_GPIO_WritePin(GPIOA, LED_GREEN_Pin|D2_LED_Pin, GPIO_PIN_RESET);

  /*Configure GPIO pin Output Level */
  HAL_GPIO_WritePin(GPIOB, Row_1_Pin|Row_2_Pin|Row_3_Pin|Row_4_Pin, GPIO_PIN_RESET);

  /*Configure GPIO pin : B1_Pin */
  GPIO_InitStruct.Pin = B1_Pin;
  GPIO_InitStruct.Mode = GPIO_MODE_IT_RISING;
  GPIO_InitStruct.Pull = GPIO_NOPULL;
  HAL_GPIO_Init(B1_GPIO_Port, &GPIO_InitStruct);

  /*Configure GPIO pin : LED_GREEN_Pin */
  GPIO_InitStruct.Pin = LED_GREEN_Pin;
  GPIO_InitStruct.Mode = GPIO_MODE_OUTPUT_PP;
  GPIO_InitStruct.Pull = GPIO_NOPULL;
  GPIO_InitStruct.Speed = GPIO_SPEED_FREQ_HIGH;
  HAL_GPIO_Init(LED_GREEN_GPIO_Port, &GPIO_InitStruct);

  /*Configure GPIO pins : Col_1_Pin Col_2_Pin */
  GPIO_InitStruct.Pin = Col_1_Pin|Col_2_Pin;
  GPIO_InitStruct.Mode = GPIO_MODE_INPUT;
  GPIO_InitStruct.Pull = GPIO_PULLDOWN;
  HAL_GPIO_Init(GPIOA, &GPIO_InitStruct);

  /*Configure GPIO pins : Row_1_Pin Row_2_Pin Row_3_Pin Row_4_Pin */
  GPIO_InitStruct.Pin = Row_1_Pin|Row_2_Pin|Row_3_Pin|Row_4_Pin;
  GPIO_InitStruct.Mode = GPIO_MODE_OUTPUT_PP;
  GPIO_InitStruct.Pull = GPIO_NOPULL;
  GPIO_InitStruct.Speed = GPIO_SPEED_FREQ_LOW;
  HAL_GPIO_Init(GPIOB, &GPIO_InitStruct);

  /*Configure GPIO pin : Middle_button_Pin */
  GPIO_InitStruct.Pin = Middle_button_Pin;
  GPIO_InitStruct.Mode = GPIO_MODE_IT_FALLING;
  GPIO_InitStruct.Pull = GPIO_PULLUP;
  HAL_GPIO_Init(Middle_button_GPIO_Port, &GPIO_InitStruct);

  /*Configure GPIO pin : D2_LED_Pin */
  GPIO_InitStruct.Pin = D2_LED_Pin;
  GPIO_InitStruct.Mode = GPIO_MODE_OUTPUT_PP;
  GPIO_InitStruct.Pull = GPIO_NOPULL;
  GPIO_InitStruct.Speed = GPIO_SPEED_FREQ_LOW;
  HAL_GPIO_Init(D2_LED_GPIO_Port, &GPIO_InitStruct);

  /*Configure GPIO pin : Col_3_Pin */
  GPIO_InitStruct.Pin = Col_3_Pin;
  GPIO_InitStruct.Mode = GPIO_MODE_INPUT;
  GPIO_InitStruct.Pull = GPIO_PULLDOWN;
  HAL_GPIO_Init(Col_3_GPIO_Port, &GPIO_InitStruct);

  /* EXTI interrupt init*/
  HAL_NVIC_SetPriority(EXTI4_15_IRQn, 0, 0);
  HAL_NVIC_EnableIRQ(EXTI4_15_IRQn);

}

void Error_Handler(void)
{
  __disable_irq();
  while (1)
  {
  }
}
